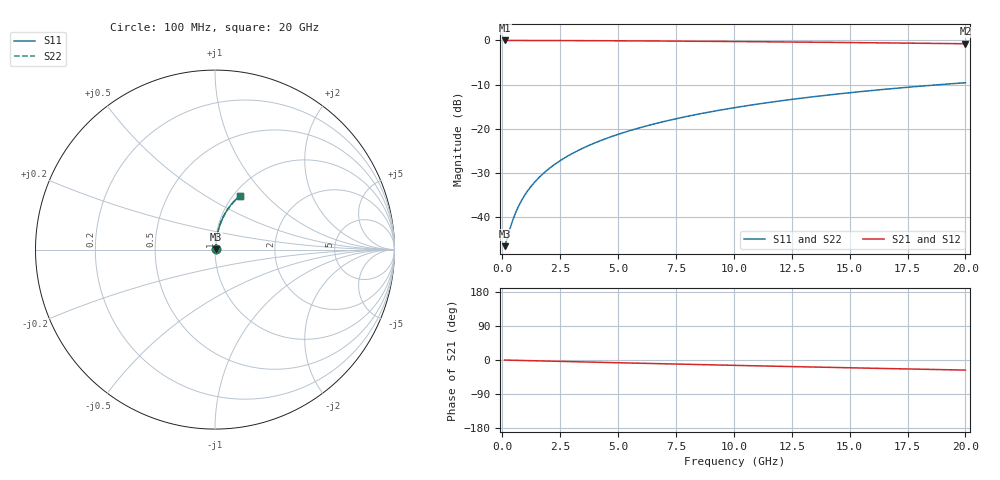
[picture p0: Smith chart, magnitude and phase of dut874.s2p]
! Touchstone file exported from HFSS 2024.1.0
!  File:  C:/UserFiles/LocalFiles/RDL_TSV_Batchsim/temp_RDL_top_874_1779856536.aedt
!  Generated:  12:37:53 PM May 27, 2026
!  Design:  RDL_top
!  Project:  temp_RDL_top_874_1779856536
!  Setup:  Setup1
!  Solution:  Sweep
! Variables:
!  dtsv = 10.80580581um
!  hbump = 3um
!  htsv = 90.7um
!  ldown = 100um
!  lrdl = 304.61um
!  p = 40
!  p1 = 44.14um
!  rhole = 1um
!  t = 450um
!  tdown = 3.915915916um
!  trdl = 2.16um
!  wdown = 15.38538539um
!  wrdl = 12.13um
# GHz S MA R 50.000000
! Terminal data exported
! Port[1] = Box2_T1
! Port[2] = Box2_T2
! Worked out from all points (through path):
!   200 points, 100 MHz to 20 GHz, reference 50 ohm
!   highest |S21| = -0.04 dB at 100 MHz (marker M1); lowest = -0.8 dB at 20 GHz (marker M2)
!   group delay of S21, straight-line fit = 3.7 ps
!   lowest |S11| = -46.6 dB at 100 MHz (marker M3), VSWR 1.01, Z = 50.4 + j0.181 ohm
!   |S11| at or under -10 dB: start of sweep to 18.97 GHz
!   |S22| runs from -46.6 to -9.6 dB; largest |S21 - S12| = 3.8e-15
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0.1  0.004695 22.5  0.9957 -0.2  0.9957 -0.2  0.004695 22.5
! Gamma 0 0 0 0
! Port Impedance 50 0 50 0
0.4  0.008435 57.7  0.9955 -0.6  0.9955 -0.6  0.008435 57.7
0.5  0.01 62.7  0.9954 -0.8  0.9954 -0.8  0.01 62.7
0.6  0.01161 66.2  0.9953 -0.9  0.9953 -0.9  0.01161 66.2
0.7  0.01325 68.9  0.9952 -1.0  0.9952 -1.0  0.01325 68.9
0.9  0.01656 72.5  0.995 -1.3  0.995 -1.3  0.01656 72.5
1.2  0.02156 75.8  0.9947 -1.8  0.9947 -1.8  0.02156 75.8
1.4  0.02492 77.2  0.9944 -2.1  0.9944 -2.1  0.02492 77.2
1.7  0.02997 78.7  0.9941 -2.5  0.9941 -2.5  0.02997 78.7
2.2  0.03843 80.1  0.9934 -3.2  0.9934 -3.2  0.03843 80.1
2.8  0.04863 81.0  0.9924 -4.1  0.9924 -4.1  0.04863 81.0
3.5  0.06059 81.4  0.991 -5.1  0.991 -5.1  0.06059 81.4
4.2  0.0726 81.4  0.9894 -6.1  0.9894 -6.1  0.0726 81.4
5  0.08637 81.2  0.9873 -7.2  0.9873 -7.2  0.08637 81.2
5.9  0.1019 80.6  0.9846 -8.5  0.9846 -8.5  0.1019 80.6
6.8  0.1175 80.0  0.9816 -9.8  0.9816 -9.8  0.1175 80.0
8.3  0.1434 78.6  0.9758 -11.8  0.9758 -11.8  0.1434 78.6
10.1  0.1742 76.7  0.9681 -14.2  0.9681 -14.2  0.1742 76.7
11.7  0.2012 74.9  0.9605 -16.4  0.9605 -16.4  0.2012 74.9
13.4  0.2294 72.9  0.9519 -18.5  0.9519 -18.5  0.2294 72.9
16.7  0.282 69.0  0.9337 -22.7  0.9337 -22.7  0.282 69.0
20  0.3313 65.1  0.9141 -26.6  0.9141 -26.6  0.3313 65.1
